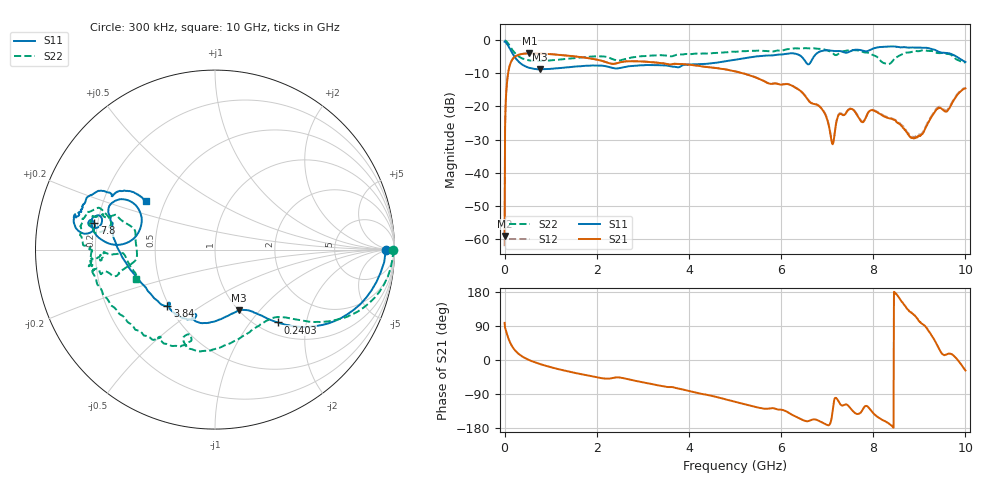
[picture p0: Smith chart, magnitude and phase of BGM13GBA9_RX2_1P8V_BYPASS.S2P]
!Agilent Technologies,E5071C,MY46316587,B.13.01
!Date: Wed Dec 06 10:53:41 2017
!Data & Calibration Information:
!Freq	S11:SOLT2(ON)	S21:SOLT2(ON)	S12:SOLT2(ON)	S22:SOLT2(ON)
!PortZ  Port1:50+j0  Port2:50+j0
!Above PortZ is port z conversion or system Z0 setting when saving the data.
!When reading, reference impedance value at option line is always used.
# Hz S RI R 50
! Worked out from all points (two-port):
!   1001 points, 300 kHz to 10 GHz, reference 50 ohm
!   highest |S21| = -3.95 dB at 540.3 MHz (marker M1); lowest = -59.2 dB at 300 kHz (marker M2)
!   |S21| within 3 dB of the highest: 127.5 MHz to 2.275 GHz (2.148 GHz wide, 179 % of centre); 2.436 GHz to 3.436 GHz (999.5 MHz wide, 34 % of centre)
!   lowest |S11| = -8.8 dB at 760.3 MHz (marker M3), VSWR 2.15, Z = 50.2 - j39.2 ohm
!   |S11| at or under -10 dB: nowhere
!   |S22| runs from -7.2 to 0.0 dB; largest |S21 - S12| = 0.0059
!   S11 on the Smith chart (normalised r, x): 300 kHz: 40, -2; 240.3 MHz: 1.21, -1.38; 3.84 GHz: 0.49, -0.37; 7.8 GHz: 0.19, +0.10; 10 GHz: 0.39, +0.27
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300000  0.9517 -0.00203  -0.000153 0.00109  -0.000561 0.00053  0.9945 -0.0018
6.02982e7  0.8098 -0.304  0.1113 0.2382  0.1119 0.2396  0.889 -0.2688
7.02979e7  0.7746 -0.3341  0.1436 0.2625  0.1434 0.2626  0.8584 -0.2984
2.402928e8  0.3486 -0.4058  0.5279 0.2296  0.5288 0.23  0.4828 -0.3953
5.402838e8  0.1804 -0.3378  0.6347 -0.00601  0.6358 -0.00596  0.3167 -0.3818
7.602772e8  0.1343 -0.3385  0.6189 -0.1139  0.6207 -0.1141  0.255 -0.4158
1.67025e9  -0.028 -0.4061  0.4392 -0.3398  0.4396 -0.342  0.00927 -0.5509
3.3402e9  -0.2218 -0.3572  0.1778 -0.4206  0.1777 -0.4219  -0.2791 -0.5245
3.840185e9  -0.2655 -0.3149  0.0977 -0.426  0.0977 -0.4276  -0.3642 -0.4886
5.00015e9  -0.5048 -0.0607  -0.1168 -0.3189  -0.1179 -0.3205  -0.6283 -0.2334
6.390108e9  -0.5306 0.2805  -0.1591 -0.0802  -0.1607 -0.0804  -0.7449 0.1013
6.6701e9  -0.5068 0.0321  -0.1025 -0.0427  -0.104 -0.0428  -0.7383 0.1718
6.930092e9  -0.6867 0.1368  -0.0805 -0.0182  -0.082 -0.0185  -0.6994 0.2109
7.110087e9  -0.6698 0.1847  -0.0215 -0.0169  -0.0224 -0.0173  -0.6115 0.2027
7.280082e9  -0.6614 0.188  -0.0335 -0.0696  -0.0344 -0.0711  -0.6466 0.0956
7.530074e9  -0.6853 0.1242  -0.06 -0.0695  -0.0608 -0.0704  -0.7005 0.1387
7.800066e9  -0.6719 0.1467  -0.0345 -0.0492  -0.0356 -0.0496  -0.6275 0.1967
7.970061e9  -0.7328 0.0894  -0.0633 -0.061  -0.064 -0.0618  -0.5801 0.1858
8.34005e9  -0.7863 0.1719  -0.0648 -0.0142  -0.0665 -0.0144  -0.4352 -0.0368
8.910033e9  -0.7396 0.2288  -0.0146 0.0303  -0.0152 0.0315  -0.6792 -0.1164
9.780007e9  -0.4805 0.3254  0.1337 0.0167  0.1387 0.0158  -0.5296 -0.019
1e10  -0.3864 0.2685  0.1661 -0.0869  0.1687 -0.089  -0.4416 -0.1656
